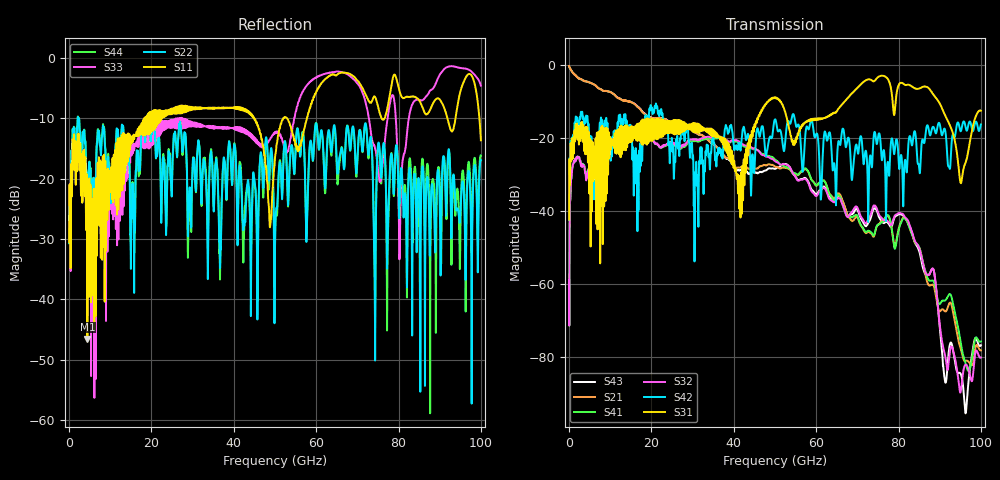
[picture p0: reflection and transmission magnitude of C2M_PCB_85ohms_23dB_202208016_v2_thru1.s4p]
! Info: Touchstone file created by Circ.  Input file=Intel_C2M_200G_9p0in_202208016_staggered.circ
# Hz S RI R 50
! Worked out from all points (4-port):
!   10000 points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, 10 MHz to 100 GHz, reference 50 ohm
!   strongest paths, dB at 10 MHz, 25.01 GHz, 50.01 GHz, 75.01 GHz, 100 GHz:
!     S31: -42.3, -18.6, -9.0, -3.3, -12.5
!     S42: -42.3, -21.0, -14.8, -19.8, -16.3
!     S32: -58.8, -21.3, -26.3, -40.2, -80.1
!     S41: -58.8, -21.6, -25.8, -43.6, -75.7
!     S21: -0.3, -15.8, -27.7, -43.7, -78.1
!     S43: -0.3, -15.8, -28.4, -40.7, -76.7
!   lowest |S11| = -46.6 dB at 4.44 GHz (marker M1), VSWR 1.01, Z = 50.5 - j0.116 ohm
!   |S11| at or under -10 dB: start of sweep to 18.25 GHz; 44.97 GHz to 52.01 GHz (7.036 GHz wide, 14.5 % of centre); 52.9 GHz to 57.73 GHz (4.825 GHz wide, 8.72 % of centre)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
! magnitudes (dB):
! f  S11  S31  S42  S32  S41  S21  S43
! 10 MHz  -30.6  -42.3  -42.3  -58.8  -58.8  -0.3  -0.3
! 4.44 GHz  -46.6  -17.0  -13.9  -30.4  -30.1  -4.5  -4.5
! 41.49 GHz  -8.6  -30.4  -22.6  -21.1  -21.5  -28.1  -28.9
! 49.02 GHz  -26.7  -9.3  -19.9  -25.6  -25.1  -27.3  -28.3
! 80.71 GHz  -6.4  -4.8  -24.9  -40.6  -42.8  -42.6  -40.9
! 95.16 GHz  -5.2  -32.3  -18.0  -89.0  -76.3  -77.9  -84.7
! 100 GHz  -13.7  -12.5  -16.3  -80.1  -75.7  -78.1  -76.7
